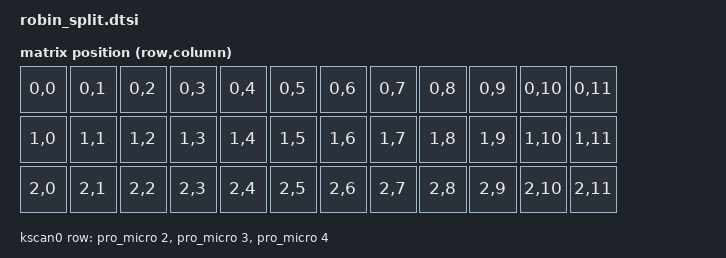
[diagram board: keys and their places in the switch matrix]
/*
 * Robin's 3x5+3 Split Keyboard (Layout A: thumbs in column 6)
 * SPDX-License-Identifier: MIT
 */

#include <dt-bindings/zmk/matrix_transform.h>

/ {
    chosen {
        zmk,kscan = &kscan0;
        zmk,matrix-transform = &default_transform;
    };

    default_transform: keymap_transform_0 {
        compatible = "zmk,matrix-transform";
        columns = <12>;
        rows = <3>;
        // Layout A: 3 rows × 6 cols per side, thumbs at end of each row
        // Left:                                Right:
        // | L0  | L1  | L2  | L3  | L4  | L5  |   | R5  | R4  | R3  | R2  | R1  | R0  |
        // | L6  | L7  | L8  | L9  | L10 | L11 |   | R11 | R10 | R9  | R8  | R7  | R6  |
        // | L12 | L13 | L14 | L15 | L16 | L17 |   | R17 | R16 | R15 | R14 | R13 | R12 |
        //                                     (L5, L11, L17 are thumb keys)
        map = <
            RC(0,0) RC(0,1) RC(0,2) RC(0,3) RC(0,4) RC(0,5)  RC(0,6) RC(0,7) RC(0,8) RC(0,9) RC(0,10) RC(0,11)
            RC(1,0) RC(1,1) RC(1,2) RC(1,3) RC(1,4) RC(1,5)  RC(1,6) RC(1,7) RC(1,8) RC(1,9) RC(1,10) RC(1,11)
            RC(2,0) RC(2,1) RC(2,2) RC(2,3) RC(2,4) RC(2,5)  RC(2,6) RC(2,7) RC(2,8) RC(2,9) RC(2,10) RC(2,11)
        >;
    };

    kscan0: kscan {
        compatible = "zmk,kscan-gpio-matrix";
        wakeup-source;
        diode-direction = "col2row";
        
        // Row pins (3 rows)
        row-gpios
            = <&pro_micro 2 (GPIO_ACTIVE_HIGH | GPIO_PULL_DOWN)>
            , <&pro_micro 3 (GPIO_ACTIVE_HIGH | GPIO_PULL_DOWN)>
            , <&pro_micro 4 (GPIO_ACTIVE_HIGH | GPIO_PULL_DOWN)>
            ;
    };
};
